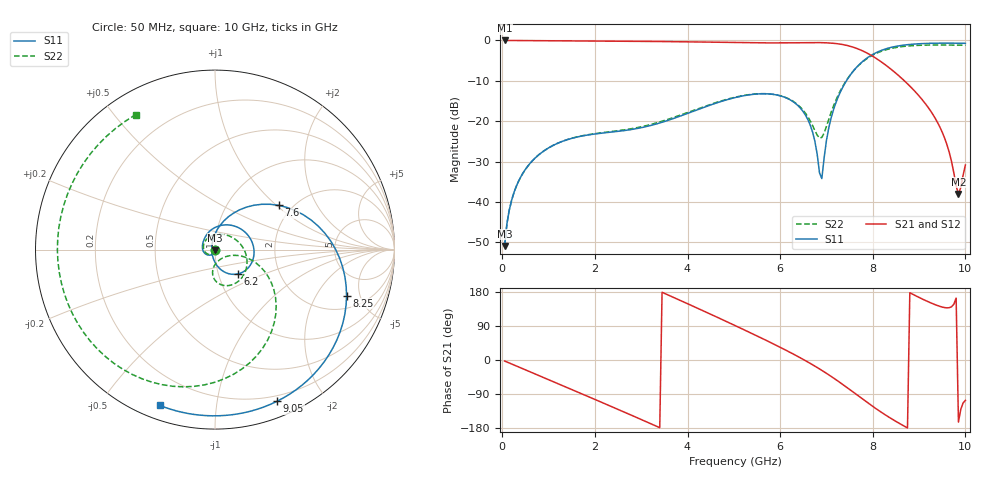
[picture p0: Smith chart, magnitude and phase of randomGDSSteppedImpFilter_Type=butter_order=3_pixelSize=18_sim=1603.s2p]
! freq	dB(S11)	phase(S11)	dB(S12)	phase(S12)
!  dB(S21)	phase(S21)	dB(S22)	phase(S22)
!S-par simulation data
#  GHz  S  DB  R 50
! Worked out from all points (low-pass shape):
!   200 points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, 50 MHz to 10 GHz, reference 50 ohm
!   highest |S21| = 0.00 dB at 50 MHz (marker M1); lowest = -38.0 dB at 9.85 GHz (marker M2)
!   |S21| within 3 dB of the highest: start of sweep to 7.856 GHz
!   lowest |S11| = -50.9 dB at 50 MHz (marker M3), VSWR 1.01, Z = 50 - j0.284 ohm
!   |S11| at or under -10 dB: start of sweep to 7.431 GHz
!   |S22| runs from -50.9 to -1.1 dB; largest |S21 - S12| = 0
!   S11 on the Smith chart (normalised r, x): 50 MHz: 1.00, -0.01; 6.2 GHz: 1.24, -0.35; 7.6 GHz: 1.70, +1.03; 8.25 GHz: 2.89, -3.74; 9.05 GHz: 0.15, -1.48; 10 GHz: 0.06, -0.70
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0.05  -50.91 -85.2  -0.00 -2.6  -0.00 -2.6  -50.93 -86.7
0.2  -39.61 -97.2  -0.02 -10.5  -0.02 -10.5  -39.62 -98.9
0.5  -31.90 -113.9  -0.04 -26.0  -0.04 -26.0  -31.92 -118.1
1.15  -25.69 -145.6  -0.08 -59.7  -0.08 -59.7  -25.68 -156.6
1.75  -23.59 -172.5  -0.13 -91.0  -0.13 -91.0  -23.54 166.8
2.5  -22.51 156.8  -0.18 -130.4  -0.18 -130.4  -22.35 117.7
3.4  -20.43 119.2  -0.27 -178.6  -0.27 -178.6  -20.17 59.2
4.15  -17.42 79.8  -0.37 140.3  -0.37 140.3  -17.21 17.7
5.05  -14.08 26.1  -0.52 89.6  -0.52 89.6  -14.00 -27.5
5.6  -13.20 -7.8  -0.60 57.6  -0.60 57.6  -13.17 -55.2
6.2  -14.60 -46.6  -0.59 21.1  -0.59 21.1  -14.54 -84.9
6.7  -22.68 -89.1  -0.53 -12.5  -0.53 -12.5  -21.06 -91.9
6.9  -34.20 158.1  -0.55 -27.4  -0.55 -27.4  -24.01 -47.6
7  -24.75 100.8  -0.59 -35.1  -0.59 -35.1  -21.27 -23.5
7.15  -17.22 78.3  -0.70 -47.3  -0.70 -47.3  -16.29 -13.8
7.6  -7.30 34.9  -1.75 -86.8  -1.75 -86.8  -7.31 -38.4
8.25  -2.20 -19.3  -5.85 -143.2  -5.85 -143.2  -2.43 -94.5
8.35  -1.85 -26.4  -6.72 -150.9  -6.72 -150.9  -2.11 -103.0
9.05  -0.79 -67.8  -14.42 162.1  -14.42 162.1  -1.18 -159.6
9.55  -0.67 -91.0  -24.13 138.3  -24.13 138.3  -1.13 159.5
9.85  -0.69 -103.5  -38.04 -163.9  -38.04 -163.9  -1.17 133.7
10  -0.71 -109.5  -30.84 -106.5  -30.84 -106.5  -1.19 120.5
